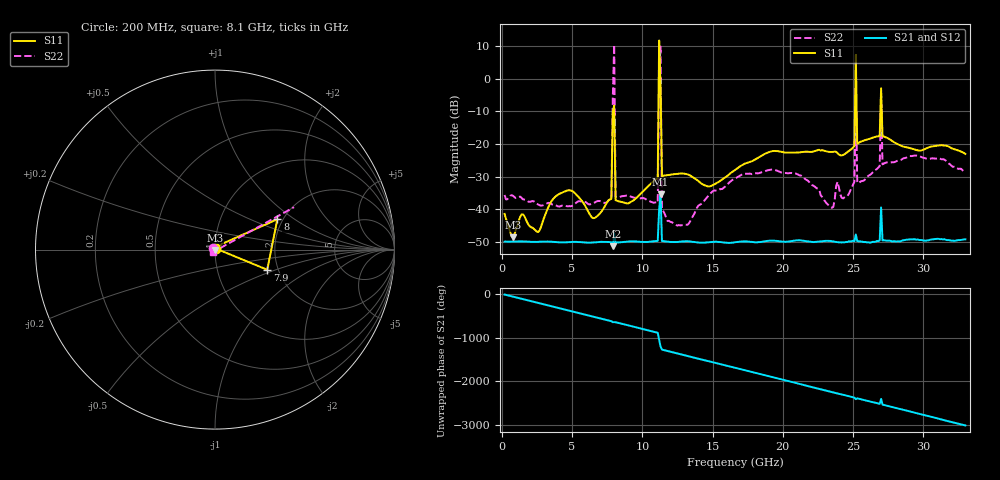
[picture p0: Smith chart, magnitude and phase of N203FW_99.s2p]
# GHZ S RI R 50
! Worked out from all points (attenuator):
!   329 points, 200 MHz to 33 GHz, reference 50 ohm
!   highest |S21| = -35.45 dB at 11.3 GHz (marker M1); lowest = -51.4 dB at 7.9 GHz (marker M2)
!   lowest |S11| = -48.6 dB at 800 MHz (marker M3), VSWR 1.01, Z = 50.1 - j0.367 ohm
!   |S11| at or under -10 dB: start of sweep to 7.906 GHz; 11.33 GHz to 25.14 GHz (13.81 GHz wide, 75.7 % of centre); 27.05 GHz to end of sweep (the widest 3 of 5)
!   |S22| runs from -45.0 to 10.4 dB; largest |S21 - S12| = 0.02
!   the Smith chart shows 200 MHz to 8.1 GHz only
!   S11 on the Smith chart (normalised r, x): 200 MHz: 1.01, +0.01; 7.9 GHz: 1.75, -0.44; 8 GHz: 1.87, +0.74; 8.1 GHz: 1.00, +0.03
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0.2  0.00632 0.00563  0.00305 -0.000894  0.00306 -0.000887  -0.0136 0.00928
0.8  0.00068 -0.00366  0.00139 -0.00287  0.00138 -0.00287  -0.0122 0.0105
5.7  0.00695 0.0115  -0.000449 -0.00308  -0.000466 -0.00308  0.00718 -0.0109
7.8  -0.00888 0.0113  -0.000207 0.0031  -0.000215 0.00311  -0.00818 -0.0123
7.9  0.291 -0.1123  0.000856 0.00257  0.000844 0.00247  0.4401 0.2362
8  0.3474 0.1693  0.00133 0.00403  0.000987 0.00609  2.884 1.607
8.1  -0.00136 0.0136  0.00104 0.0029  0.00105 0.0029  -0.011 -0.0108
11.1  0.00514 0.0297  -0.00322 -0.00053  -0.00321 -0.000527  -0.0105 0.00678
11.2  2.636 2.81  0.00896 0.00435  0.0162 0.0229  -0.7127 -0.8826
11.3  0.7121 0.3042  -0.0103 -0.0134  -0.0109 -0.0104  0.2216 3.106
11.4  0.0215 0.0236  -0.00312 0.000887  -0.00312 0.000895  -0.00744 0.00662
13.2  -0.0258 -0.0224  0.00304 0.00108  0.00304 0.00108  -0.00563 -0.00107
16.6  -0.0327 0.0226  -0.00105 0.00293  -0.00105 0.00293  -0.0291 0.00537
22.1  -0.0295 -0.0698  0.00285 0.00134  0.00285 0.00134  0.0203 0.0115
25.1  -0.0407 -0.0833  -0.00266 0.00183  -0.00269 0.00184  -0.0247 -0.009
25.2  2.215 0.6596  -0.00141 0.00384  -0.00121 0.00386  0.2979 0.5175
25.3  -0.0755 -0.0662  -0.00205 0.00251  -0.00203 0.0025  -0.0266 -0.00292
26.9  0.0622 0.1162  0.0033 0.000209  0.00325 0.000178  -0.0407 0.0206
27  0.4523 -0.5524  -0.00484 0.00944  -0.000745 0.00095  -0.2082 0.5171
27.1  0.0998 0.0849  0.00322 -0.000759  0.00321 -0.00078  -0.0405 0.0271
27.6  0.1149 -0.0275  0.00184 -0.00272  0.00188 -0.00269  -0.035 0.038
33  0.0187 0.0677  -0.00225 -0.0026  -0.00226 -0.00257  0.0351 0.0112
